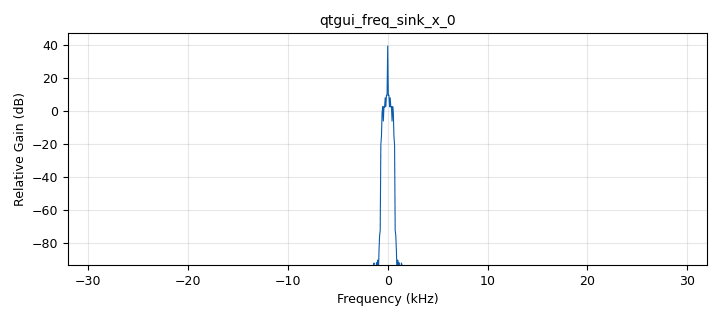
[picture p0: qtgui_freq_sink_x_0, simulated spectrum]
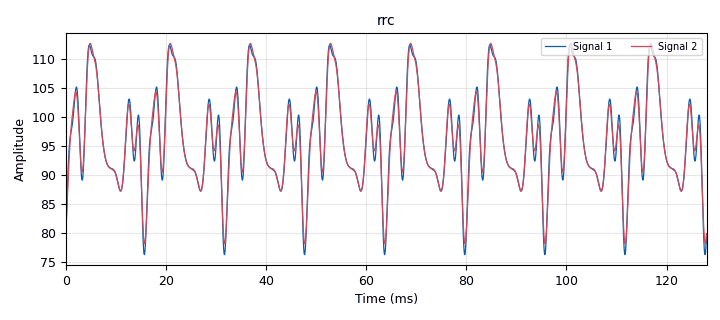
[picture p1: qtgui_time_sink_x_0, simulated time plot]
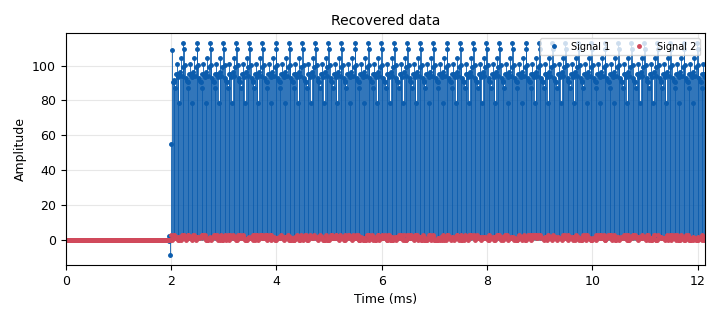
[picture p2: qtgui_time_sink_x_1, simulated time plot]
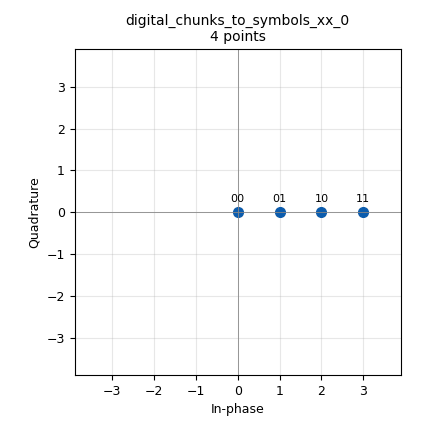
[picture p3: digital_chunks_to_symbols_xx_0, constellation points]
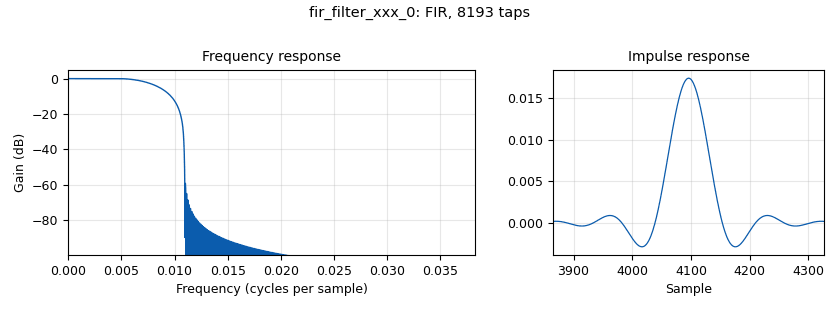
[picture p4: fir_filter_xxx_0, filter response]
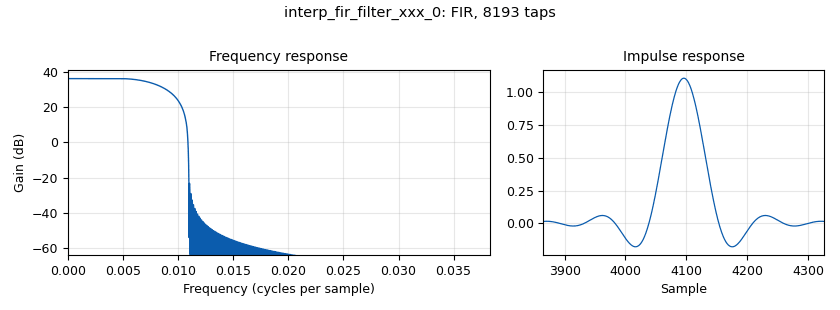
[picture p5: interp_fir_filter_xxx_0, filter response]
options:
  parameters:
    author: p
    generate_options: qt_gui
    id: Week3_lecture14
    output_language: python
    title: Not titled yet
  states: {}

blocks:
- name: rrc_taps
  id: variable
  parameters:
    value: numpy.array(firdes.root_raised_cosine(samp_rate//1000,samp_rate,1000,0.4,8192))
  states: {}
- name: samp_rate
  id: variable
  parameters:
    value: '64000'
  states: {}
- name: analog_random_source_x_0
  id: analog_random_source_x
  parameters:
    max: '4'
    min: '0'
    num_samps: '1024'
    repeat: 'True'
    type: int
  states: {}
- name: blocks_delay_0
  id: blocks_delay
  parameters:
    delay: '128'
    type: float
  states: {}
- name: blocks_int_to_float_0
  id: blocks_int_to_float
  parameters:
    scale: '1'
  states: {}
- name: blocks_throttle2_0
  id: blocks_throttle2
  parameters:
    samples_per_second: samp_rate
    type: float
  states: {}
- name: digital_chunks_to_symbols_xx_0
  id: digital_chunks_to_symbols_xx
  parameters:
    dimension: '1'
    in_type: int
    out_type: float
    symbol_table: '[0,1,2,3]'
  states: {}
- name: fir_filter_xxx_0
  id: fir_filter_xxx
  parameters:
    decim: samp_rate // 1000
    taps: rrc_taps/(samp_rate // 1000)
    type: fff
  states: {}
- name: interp_fir_filter_xxx_0
  id: interp_fir_filter_xxx
  parameters:
    interp: '1'
    taps: rrc_taps
    type: fff
  states: {}
- name: interp_fir_filter_xxx_0_0
  id: interp_fir_filter_xxx
  parameters:
    interp: '1'
    taps: rrc_taps/(samp_rate//1000)
    type: fff
  states: {}
- name: qtgui_freq_sink_x_0
  id: qtgui_freq_sink_x
  parameters:
    autoscale: 'True'
    bw: samp_rate
    fc: '0'
    fftsize: '1024'
    grid: 'True'
    type: float
    wintype: window.WIN_RECTANGULAR
  states: {}
- name: qtgui_time_sink_x_0
  id: qtgui_time_sink_x
  parameters:
    autoscale: 'True'
    grid: 'True'
    name: rrc
    nconnections: '2'
    size: '8192'
    srate: samp_rate
    type: float
  states: {}
- name: qtgui_time_sink_x_1
  id: qtgui_time_sink_x
  parameters:
    autoscale: 'True'
    grid: 'True'
    name: Recovered data
    nconnections: '2'
    size: '1024'
    srate: samp_rate
    stemplot: 'True'
    type: float
  states: {}

connections:
- [analog_random_source_x_0, '0', blocks_int_to_float_0, '0']
- [analog_random_source_x_0, '0', digital_chunks_to_symbols_xx_0, '0']
- [blocks_delay_0, '0', qtgui_time_sink_x_1, '1']
- [blocks_int_to_float_0, '0', blocks_delay_0, '0']
- [blocks_throttle2_0, '0', qtgui_freq_sink_x_0, '0']
- [blocks_throttle2_0, '0', qtgui_time_sink_x_0, '0']
- [digital_chunks_to_symbols_xx_0, '0', interp_fir_filter_xxx_0, '0']
- [fir_filter_xxx_0, '0', qtgui_time_sink_x_1, '0']
- [interp_fir_filter_xxx_0, '0', blocks_throttle2_0, '0']
- [interp_fir_filter_xxx_0, '0', fir_filter_xxx_0, '0']
- [interp_fir_filter_xxx_0, '0', interp_fir_filter_xxx_0_0, '0']
- [interp_fir_filter_xxx_0_0, '0', qtgui_time_sink_x_0, '1']

metadata:
  file_format: 1
  grc_version: 3.10.7.0
